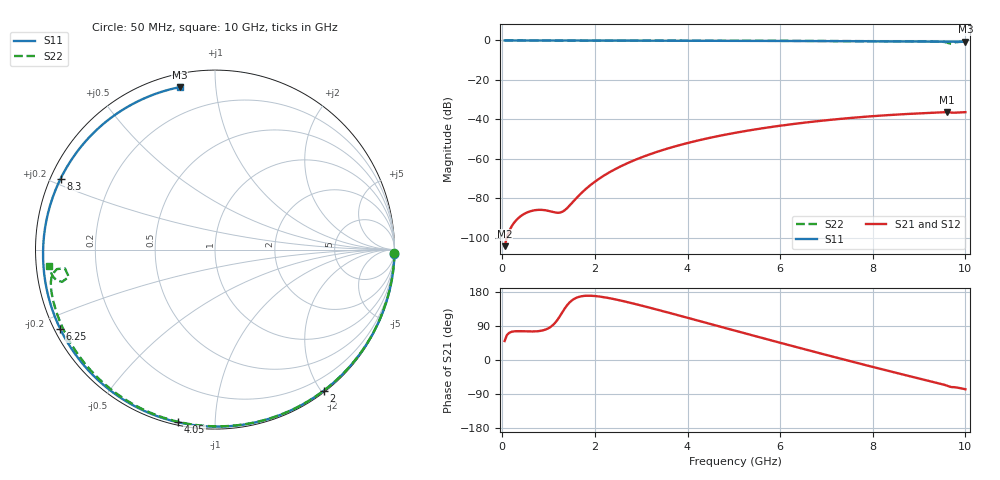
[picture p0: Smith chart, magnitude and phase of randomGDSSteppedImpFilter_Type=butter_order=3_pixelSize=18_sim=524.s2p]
! freq	dB(S11)	phase(S11)	dB(S12)	phase(S12)
!  dB(S21)	phase(S21)	dB(S22)	phase(S22)
!S-par simulation data
#  GHz  S  DB  R 50
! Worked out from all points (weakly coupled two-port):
!   200 points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, 50 MHz to 10 GHz, reference 50 ohm
!   highest |S21| = -36.28 dB at 9.6 GHz (marker M1); lowest = -104.2 dB at 50 MHz (marker M2)
!   lowest |S11| = -0.7 dB at 10 GHz (marker M3), VSWR 26.02, Z = 3.17 + j40.2 ohm
!   |S11| at or under -10 dB: nowhere
!   |S22| runs from -1.6 to 0.0 dB; largest |S21 - S12| = 0
!   S11 on the Smith chart (normalised r, x): 50 MHz: 0, -85; 2 GHz: 0.02, -2.03; 4.05 GHz: 0.01, -0.81; 6.25 GHz: 0.02, -0.24; 8.3 GHz: 0.03, +0.22; 10 GHz: 0.06, +0.80
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0.05  -0.00 -1.3  -104.20 50.1  -104.20 50.1  -0.00 -1.0
0.75  -0.02 -20.0  -85.85 75.8  -85.85 75.8  -0.02 -15.1
1.55  -0.05 -40.9  -81.14 161.1  -81.14 161.1  -0.04 -30.8
1.6  -0.05 -42.2  -79.87 164.2  -79.87 164.2  -0.04 -31.8
1.75  -0.06 -46.1  -76.36 168.9  -76.36 168.9  -0.04 -34.7
2  -0.07 -52.4  -71.53 168.8  -71.53 168.8  -0.05 -39.5
2.6  -0.09 -67.4  -63.28 155.7  -63.28 155.7  -0.07 -50.9
3.4  -0.11 -86.8  -55.97 131.1  -55.97 131.1  -0.09 -65.7
4.05  -0.14 -102.1  -51.66 109.8  -51.66 109.8  -0.11 -77.3
5.05  -0.19 -125.1  -46.69 76.6  -46.69 76.6  -0.15 -94.6
6.25  -0.27 -152.8  -42.42 37.3  -42.42 37.3  -0.21 -114.5
6.7  -0.31 -163.5  -41.16 22.8  -41.16 22.8  -0.24 -121.8
7.5  -0.39 176.7  -39.29 -2.7  -39.29 -2.7  -0.30 -134.8
8.3  -0.47 155.3  -37.86 -27.6  -37.86 -27.6  -0.38 -147.9
8.35  -0.48 153.9  -37.79 -29.1  -37.79 -29.1  -0.38 -148.7
8.8  -0.53 140.9  -37.18 -42.8  -37.18 -42.8  -0.44 -156.3
9.3  -0.59 125.5  -36.62 -57.7  -36.62 -57.7  -0.53 -165.5
9.6  -0.63 115.8  -36.28 -67.6  -36.28 -67.6  -1.03 -173.0
9.65  -0.63 114.1  -36.33 -70.0  -36.33 -70.0  -1.48 -172.9
9.7  -0.64 112.5  -36.54 -71.5  -36.54 -71.5  -1.63 -169.4
9.75  -0.64 110.8  -36.61 -71.7  -36.61 -71.7  -1.20 -168.1
10  -0.67 102.3  -36.32 -77.2  -36.32 -77.2  -0.65 -174.5
